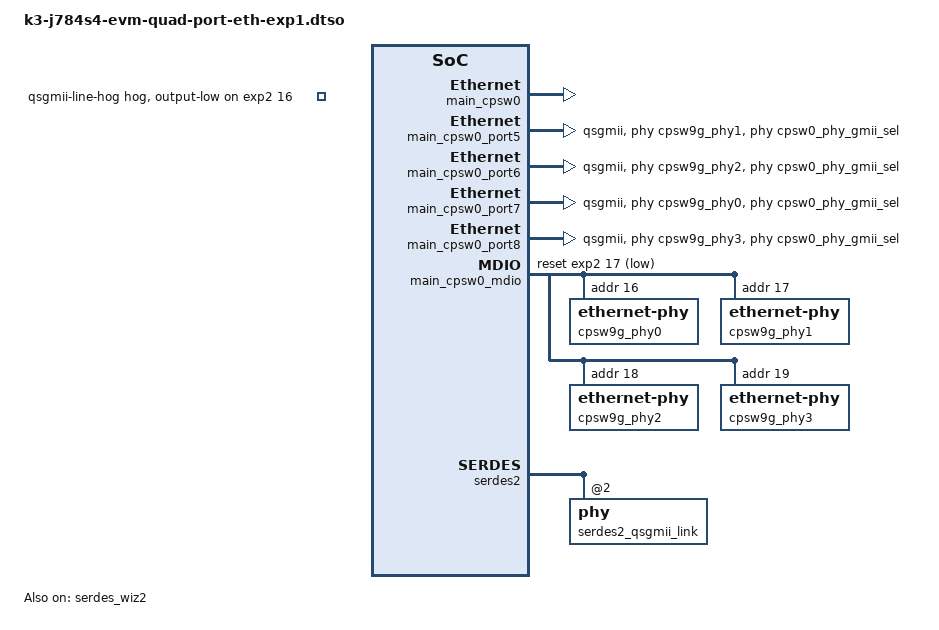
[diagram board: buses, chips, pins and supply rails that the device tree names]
/* SPDX-License-Identifier: GPL-2.0-only OR MIT */
/**
 * DT Overlay for CPSW9G in QSGMII mode using J7 Quad Port ETH EXP Add-On Ethernet Card with
 * J784S4 EVM. The Add-On Ethernet Card has to be connected to ENET Expansion 1 slot on the
 * board.
 *
 * Product Datasheet: https://www.ti.com/lit/ug/spruj74/spruj74.pdf
 *
 * Link to QSGMII Daughtercard: https://www.ti.com/tool/J721EXENETXPANEVM
 *
 * Copyright (C) 2024 Texas Instruments Incorporated - https://www.ti.com/
 */

/dts-v1/;
/plugin/;

#include <dt-bindings/gpio/gpio.h>
#include <dt-bindings/phy/phy-cadence.h>
#include <dt-bindings/phy/phy.h>

#include "k3-pinctrl.h"
#include "k3-serdes.h"

&{/} {
	aliases {
		ethernet1 = "/bus@100000/ethernet@c000000/ethernet-ports/port@5";
		ethernet2 = "/bus@100000/ethernet@c000000/ethernet-ports/port@6";
		ethernet3 = "/bus@100000/ethernet@c000000/ethernet-ports/port@7";
		ethernet4 = "/bus@100000/ethernet@c000000/ethernet-ports/port@8";
		ethernet5 = "/bus@100000/ethernet@c200000/ethernet-ports/port@1";
	};
};

&main_cpsw0 {
	status = "okay";
};

&main_cpsw0_port5 {
	phy-handle = <&cpsw9g_phy1>;
	phy-mode = "qsgmii";
	mac-address = [00 00 00 00 00 00];
	phys = <&cpsw0_phy_gmii_sel 5>, <&serdes2_qsgmii_link>;
	phy-names = "mac", "serdes";
	status = "okay";
};

&main_cpsw0_port6 {
	phy-handle = <&cpsw9g_phy2>;
	phy-mode = "qsgmii";
	mac-address = [00 00 00 00 00 00];
	phys = <&cpsw0_phy_gmii_sel 6>, <&serdes2_qsgmii_link>;
	phy-names = "mac", "serdes";
	status = "okay";
};

&main_cpsw0_port7 {
	phy-handle = <&cpsw9g_phy0>;
	phy-mode = "qsgmii";
	mac-address = [00 00 00 00 00 00];
	phys = <&cpsw0_phy_gmii_sel 7>, <&serdes2_qsgmii_link>;
	phy-names = "mac", "serdes";
	status = "okay";
};

&main_cpsw0_port8 {
	phy-handle = <&cpsw9g_phy3>;
	phy-mode = "qsgmii";
	mac-address = [00 00 00 00 00 00];
	phys = <&cpsw0_phy_gmii_sel 8>, <&serdes2_qsgmii_link>;
	phy-names = "mac", "serdes";
	status = "okay";
};

&main_cpsw0_mdio {
	pinctrl-names = "default";
	pinctrl-0 = <&mdio0_default_pins>;
	bus_freq = <1000000>;
	reset-gpios = <&exp2 17 GPIO_ACTIVE_LOW>;
	reset-post-delay-us = <120000>;
	#address-cells = <1>;
	#size-cells = <0>;
	status = "okay";

	cpsw9g_phy0: ethernet-phy@16 {
		reg = <16>;
	};
	cpsw9g_phy1: ethernet-phy@17 {
		reg = <17>;
	};
	cpsw9g_phy2: ethernet-phy@18 {
		reg = <18>;
	};
	cpsw9g_phy3: ethernet-phy@19 {
		reg = <19>;
	};
};

&exp2 {
	/* Power-up ENET1 EXPANDER PHY. */
	qsgmii-line-hog {
		gpio-hog;
		gpios = <16 GPIO_ACTIVE_HIGH>;
		output-low;
	};
};

&main_pmx0 {
	mdio0_default_pins: mdio0-default-pins {
		pinctrl-single,pins = <
			J784S4_IOPAD(0x05c, PIN_INPUT, 4) /* (AC36) MCASP2_AXR0.MDIO1_MDIO */
			J784S4_IOPAD(0x058, PIN_INPUT, 4) /* (AE37) MCASP2_AFSX.MDIO1_MDC */
		>;
	};
};

&serdes_ln_ctrl {
	idle-states = <J784S4_SERDES0_LANE0_PCIE1_LANE0>, <J784S4_SERDES0_LANE1_PCIE1_LANE1>,
		      <J784S4_SERDES0_LANE2_IP3_UNUSED>, <J784S4_SERDES0_LANE3_USB>,
		      <J784S4_SERDES1_LANE0_PCIE0_LANE0>, <J784S4_SERDES1_LANE1_PCIE0_LANE1>,
		      <J784S4_SERDES1_LANE2_PCIE0_LANE2>, <J784S4_SERDES1_LANE3_PCIE0_LANE3>,
		      <J784S4_SERDES2_LANE0_QSGMII_LANE5>, <J784S4_SERDES2_LANE1_QSGMII_LANE6>,
		      <J784S4_SERDES2_LANE2_QSGMII_LANE7>, <J784S4_SERDES2_LANE3_QSGMII_LANE8>;
};

&serdes_wiz2 {
	status = "okay";
};

&serdes2 {
	#address-cells = <1>;
	#size-cells = <0>;
	status = "okay";
	serdes2_qsgmii_link: phy@0 {
		reg = <2>;
		cdns,num-lanes = <1>;
		#phy-cells = <0>;
		cdns,phy-type = <PHY_TYPE_QSGMII>;
		resets = <&serdes_wiz2 3>;
	};
};
